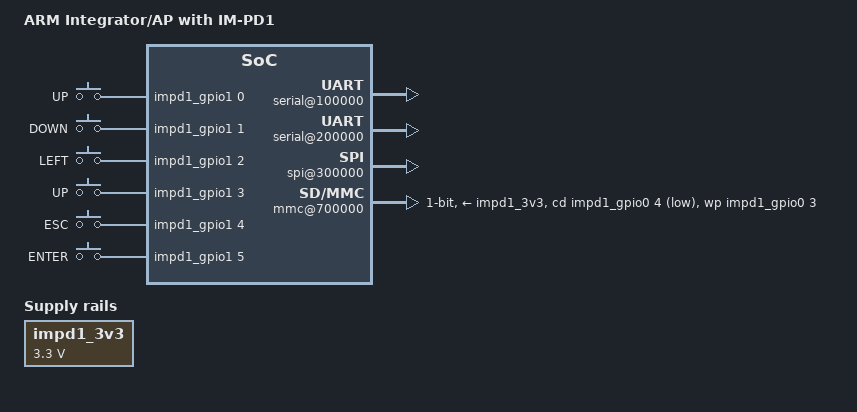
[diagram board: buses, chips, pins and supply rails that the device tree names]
// SPDX-License-Identifier: GPL-2.0
/*
 * Device Tree for the ARM Integrator/AP platform
 * with the IM-PD1 example logical module mounted.
 */

#include "integratorap.dts"

/ {
	model = "ARM Integrator/AP with IM-PD1";
	compatible = "arm,integrator-ap";

	reserved-memory {
		#address-cells = <1>;
		#size-cells = <1>;
		ranges;

		impd1_ram: vram@c2000000 {
			/* 1 MB of designated video RAM on the IM-PD1 */
			compatible = "shared-dma-pool";
			reg = <0xc2000000 0x00100000>;
			no-map;
		};
	};
};

&lm0 {
	syscon@0 {
		compatible = "arm,im-pd1-syscon", "syscon";
		reg = <0x00000000 0x1000>;
		ranges;
		#address-cells = <1>;
		#size-cells = <1>;

		vco1: clock-controller@0 {
			compatible = "arm,impd1-vco1";
			reg = <0x00 0x04>;
			#clock-cells = <0>;
			lock-offset = <0x08>;
			vco-offset = <0x00>;
			clocks = <&sysclk>;
			clock-output-names = "IM-PD1-VCO1";
		};

		vco2: clock-controller@4 {
			compatible = "arm,impd1-vco2";
			reg = <0x04 0x04>;
			#clock-cells = <0>;
			lock-offset = <0x08>;
			vco-offset = <0x04>;
			clocks = <&sysclk>;
			clock-output-names = "IM-PD1-VCO2";
		};
	};

	/* Also used for the Smart Card Interface SCI */
	impd1_uartclk: clock-uart {
		compatible = "fixed-factor-clock";
		#clock-cells = <0>;
		clock-div = <4>;
		clock-mult = <1>;
		clocks = <&vco2>;
		clock-output-names = "VCO2_DIV4";
	};

	/* For the SSP the clock is divided by 64 */
	impd1_sspclk: clock-ssp {
		compatible = "fixed-factor-clock";
		#clock-cells = <0>;
		clock-div = <64>;
		clock-mult = <1>;
		clocks = <&vco2>;
		clock-output-names = "VCO2_DIV64";
	};

	/* Fixed regulator for the MMC */
	impd1_3v3: regulator {
		compatible = "regulator-fixed";
		regulator-name = "3V3";
		regulator-min-microvolt = <3300000>;
		regulator-max-microvolt = <3300000>;
		regulator-always-on;
	};

	/* Push buttons on the IM-PD1 */
	gpio_keys {
		compatible = "gpio-keys";
		#address-cells = <1>;
		#size-cells = <0>;

		button@0 {
			debounce-interval = <50>;
			linux,code = <KEY_UP>;
			label = "UP";
			gpios = <&impd1_gpio1 0 GPIO_ACTIVE_HIGH>;
		};
		button@1 {
			debounce-interval = <50>;
			linux,code = <KEY_DOWN>;
			label = "DOWN";
			gpios = <&impd1_gpio1 1 GPIO_ACTIVE_HIGH>;
		};
		button@2 {
			debounce-interval = <50>;
			linux,code = <KEY_LEFT>;
			label = "LEFT";
			gpios = <&impd1_gpio1 2 GPIO_ACTIVE_HIGH>;
		};
		button@3 {
			debounce-interval = <50>;
			linux,code = <KEY_RIGHT>;
			label = "UP";
			gpios = <&impd1_gpio1 3 GPIO_ACTIVE_HIGH>;
		};
		button@4 {
			debounce-interval = <50>;
			linux,code = <KEY_ESC>;
			label = "ESC";
			gpios = <&impd1_gpio1 4 GPIO_ACTIVE_HIGH>;
		};
		button@5 {
			debounce-interval = <50>;
			linux,code = <KEY_ENTER>;
			label = "ENTER";
			gpios = <&impd1_gpio1 5 GPIO_ACTIVE_HIGH>;
		};
	};


	bridge {
		compatible = "ti,ths8134b", "ti,ths8134";

		ports {
			#address-cells = <1>;
			#size-cells = <0>;
			port@0 {
				reg = <0>;
					vga_bridge_in: endpoint {
					remote-endpoint = <&clcd_pads_vga_dac>;
				};
			};

			port@1 {
				reg = <1>;

				vga_bridge_out: endpoint {
					remote-endpoint = <&vga_con_in>;
				};
			};
		};
	};

	vga {
		compatible = "vga-connector";
		label = "J30";

		port {
			vga_con_in: endpoint {
				remote-endpoint = <&vga_bridge_out>;
			};
		};
	};

	serial@100000 {
		compatible = "arm,pl011", "arm,primecell";
		reg = <0x00100000 0x1000>;
		interrupts-extended = <&impd1_vic 1>;
		clocks = <&impd1_uartclk>, <&sysclk>;
		clock-names = "uartclk", "apb_pclk";
	};

	serial@200000 {
		compatible = "arm,pl011", "arm,primecell";
		reg = <0x00200000 0x1000>;
		interrupts-extended = <&impd1_vic 2>;
		clocks = <&impd1_uartclk>, <&sysclk>;
		clock-names = "uartclk", "apb_pclk";
	};

	spi@300000 {
		compatible = "arm,pl022", "arm,primecell";
		reg = <0x00300000 0x1000>;
		interrupts-extended = <&impd1_vic 3>;
		clocks = <&impd1_sspclk>, <&sysclk>;
		clock-names = "sspclk", "apb_pclk";
	};

	impd1_gpio0: gpio@400000 {
		compatible = "arm,pl061", "arm,primecell";
		reg = <0x00400000 0x1000>;
		gpio-controller;
		#gpio-cells = <2>;
		interrupt-controller;
		#interrupt-cells = <2>;
		interrupts-extended = <&impd1_vic 4>;
		clocks = <&sysclk>;
		clock-names = "apb_pclk";
	};

	impd1_gpio1: gpio@500000 {
		compatible = "arm,pl061", "arm,primecell";
		reg = <0x00500000 0x1000>;
		gpio-controller;
		#gpio-cells = <2>;
		interrupt-controller;
		#interrupt-cells = <2>;
		interrupts-extended = <&impd1_vic 5>;
		clocks = <&sysclk>;
		clock-names = "apb_pclk";
	};

	rtc@600000 {
		compatible = "arm,pl030", "arm,primecell";
		reg = <0x00600000 0x1000>;
		interrupts-extended = <&impd1_vic 6>;
		clocks = <&sysclk>;
		clock-names = "apb_pclk";
	};

	mmc@700000 {
		compatible = "arm,pl181", "arm,primecell";
		reg = <0x00700000 0x1000>;
		interrupts-extended = <&impd1_vic 7>,
				    <&impd1_vic 8>;
		clocks = <&sysclk>, <&sysclk>;
		clock-names = "mclk", "apb_pclk";
		bus-width = <1>;
		max-frequency = <515633>;
		vmmc-supply = <&impd1_3v3>;
		wp-gpios = <&impd1_gpio0 3 GPIO_ACTIVE_HIGH>;
		cd-gpios = <&impd1_gpio0 4 GPIO_ACTIVE_LOW>;
	};

	aaci@800000 {
		compatible = "arm,pl041", "arm,primecell";
		reg = <0x00800000 0x1000>;
		interrupts-extended = <&impd1_vic 9>;
		clocks = <&sysclk>;
		clock-names = "apb_pclk";
	};

	display@1000000 {
		compatible = "arm,pl110", "arm,primecell";
		reg = <0x01000000 0x1000>;
		interrupts-extended = <&impd1_vic 11>;
		clocks = <&vco1>, <&sysclk>;
		clock-names = "clcdclk", "apb_pclk";
		/* 640x480 16bpp @ 25.175MHz is 36827428 bytes/s */
		max-memory-bandwidth = <40000000>;
		memory-region = <&impd1_ram>;
		dma-ranges;

		port@0 {
			#address-cells = <1>;
			#size-cells = <0>;

			clcd_pads_vga_dac: endpoint@0 {
				reg = <0>;
				remote-endpoint = <&vga_bridge_in>;
				arm,pl11x,tft-r0g0b0-pads = <0 8 16>;
			};
		};
	};

	impd1_vic: interrupt-controller@3000000 {
		compatible = "arm,pl192-vic";
		interrupt-controller;
		#interrupt-cells = <1>;
		reg = <0x03000000 0x1000>;
		/* Valid interrupts, 0-9 and 11 */
		valid-mask = <0x00000bff>;
		/* LM site 0 has IRQ 9 on the PIC */
		interrupts-extended = <&pic 9>;
	};
};
